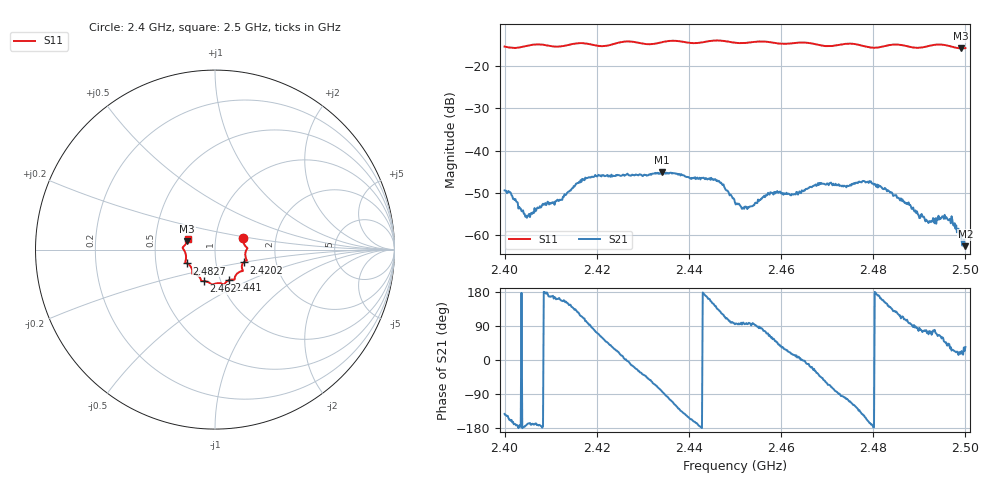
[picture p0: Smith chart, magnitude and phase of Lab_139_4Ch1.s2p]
# Hz S RI R 50
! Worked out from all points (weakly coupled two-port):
!   601 points, 2.4 GHz to 2.5 GHz, reference 50 ohm
!   highest |S21| = -45.14 dB at 2.4342 GHz (marker M1); lowest = -62.6 dB at 2.5 GHz (marker M2)
!   lowest |S11| = -15.8 dB at 2.499 GHz (marker M3), VSWR 1.39, Z = 36.4 + j3.45 ohm
!   |S11| at or under -10 dB: start of sweep to end of sweep
!   S12 and S22 are empty: the file has one direction only
!   S11 on the Smith chart (normalised r, x): 2.4 GHz: 1.36, +0.18; 2.4202 GHz: 1.36, -0.20; 2.441 GHz: 1.10, -0.39; 2.462 GHz: 0.84, -0.30; 2.4827 GHz: 0.72, -0.11; 2.5 GHz: 0.73, +0.09
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2.4e9  0.1588 0.0627  -0.00268 -0.00206  0 0  0 0
2.401167e9  0.1585 0.0496  -0.00299 -0.00124  0 0  0 0
2.405e9  0.1745 0.0142  -0.00164 -0.000342  0 0  0 0
2.412167e9  0.1684 -0.0299  -0.00242 0.000968  0 0  0 0
2.416667e9  0.1773 -0.0608  -0.00183 0.00386  0 0  0 0
2.420167e9  0.1589 -0.0717  0.00169 0.00468  0 0  0 0
2.433333e9  0.1117 -0.1507  0.00155 -0.0051  0 0  0 0
2.434167e9  0.1099 -0.1575  0.00064 -0.00549  0 0  0 0
2.441e9  0.0788 -0.1699  -0.00455 -0.00148  0 0  0 0
2.446167e9  0.0494 -0.1954  -0.00312 0.00317  0 0  0 0
2.45e9  0.0286 -0.1873  -0.000185 0.00242  0 0  0 0
2.452167e9  0.00691 -0.1879  -0.000172 0.00217  0 0  0 0
2.457667e9  -0.0232 -0.1906  0.00151 0.00285  0 0  0 0
2.462e9  -0.0602 -0.1755  0.0028 0.00101  0 0  0 0
2.466667e9  -0.0788 -0.1683  0.00351 -0.00115  0 0  0 0
2.478167e9  -0.1277 -0.1144  -0.00377 -0.00213  0 0  0 0
2.482667e9  -0.156 -0.0769  -0.00309 0.00177  0 0  0 0
2.483333e9  -0.1601 -0.075  -0.00268 0.00201  0 0  0 0
2.491667e9  -0.1711 -0.00523  0.000483 0.0014  0 0  0 0
2.496667e9  -0.171 0.0211  0.00134 0.000793  0 0  0 0
2.499e9  -0.1555 0.0462  0.00105 0.000302  0 0  0 0
2.5e9  -0.1522 0.0604  0.000613 0.000416  0 0  0 0
